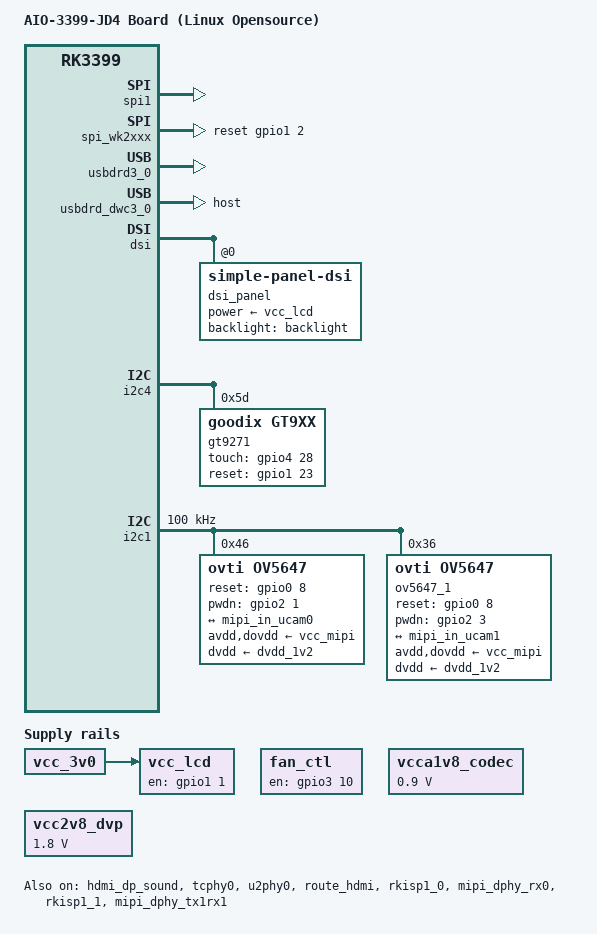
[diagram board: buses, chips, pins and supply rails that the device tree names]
/dts-v1/;

#include "rk3399-firefly-port.dtsi"
#include <dt-bindings/sensor-dev.h>

/* copy */
#include <dt-bindings/display/media-bus-format.h>

/ {
	model = "AIO-3399-JD4 Board (Linux Opensource)";
	compatible = "rockchip,rk3399-firefly", "rockchip,rk3399";

	test-power {
		status = "okay";
	};
	
	rt5640-sound {
		simple-audio-card,cpu {
		        sound-dai = <&i2s1>;
		};
		simple-audio-card,codec {
		        sound-dai = <&rt5640>;
		};
	};

	fan_ctl: fan-ctl-regulator {
		compatible = "regulator-fixed";
        	enable-active-high;
        	regulator-always-on;
		regulator-boot-on;
		gpio = <&gpio3 10 GPIO_ACTIVE_HIGH>;
		pinctrl-names = "default";
		regulator-name = "fan_ctl";
        	pinctrl-0 = <&fan_drv>;
	};


		 /* copy from aio 0330 */
    backlight: backlight {
        status = "okay";
        pwms = <&pwm1 0 25000 0>;
        default-brightness-level = <50>;
    };

    /*  POWER CONTROL START */
    vcc_lcd: vcc-lcd {
        compatible = "regulator-fixed";
        enable-active-high;
        regulator-boot-on;
        gpio = <&gpio1 1 GPIO_ACTIVE_HIGH>;
        pinctrl-names = "default";
        pinctrl-0 = <&lcd_en>;
        regulator-name = "vcc_lcd";
        vin-supply = <&vcc_3v0>;
    };

    vcc_mipi: vcc_mipi {
        status = "okay";
        };

    dvdd_1v2: dvdd-1v2 {
        status = "okay";
        };

/* POWER CONTROL */


};

&gmac {
	tx_delay = <0x2F>;
	rx_delay = <0x1E>;
};

&vcc_sd {
	gpio = <&gpio1 22 GPIO_ACTIVE_HIGH>;
};

&hdmi_dp_sound {
	status = "okay";
};

&i2c2 {
	status = "disabled";
	i2c-scl-rising-time-ns = <300>;
	i2c-scl-falling-time-ns = <15>;

	sensor@4c {
		status = "disabled";
		compatible = "gs_mc3230";
		reg = <0x4c>;
		type = <SENSOR_TYPE_ACCEL>;
		irq_enable = <0>;
		poll_delay_ms = <30>;
		layout = <1>;
	};
};

&rt5640 {
    hp-det-adc-value = <900>;
    aux-det-adc-value = <900>;
    hp-con-gpio = <&gpio3 16 GPIO_ACTIVE_HIGH>;
    io-channels = <&saradc 3>,<&saradc 2>;
    io-channel-names = "hp-det","aux-det";
};

&rt5640_hpcon{
    rockchip,pins = <3 16 RK_FUNC_GPIO &pcfg_pull_none>;
};

&vcca1v8_codec {
	regulator-min-microvolt = <900000>;
	regulator-max-microvolt = <900000>;
};
&uart4 {
    status = "disabled";
};

&spi1 {
	dev-port = <0>;
    	status = "okay";
};

&spi_wk2xxx {
    status = "okay";
	reset-gpio = <&gpio1 2 GPIO_ACTIVE_HIGH>;
	irq-gpio = <&gpio2 8 IRQ_TYPE_EDGE_FALLING>;
	cs-gpio = <&gpio1 10 GPIO_ACTIVE_HIGH>;
};

&vcc3v3_3g {
	gpio = <&gpio2 28 GPIO_ACTIVE_HIGH>;
};

&vcc3v3_pcie {
	/delete-property/ gpio;
};

&uart4 {
    status = "disabled";
};

&dp_in_vopb {
	status = "disabled";
};

&hdmi_in_vopl {
	status = "disabled";
};

&wdt {
	status = "disabled";
};

&io_domains {
	bt656-supply = <&vcc_3v0>;
};

&vcc2v8_dvp {
	regulator-min-microvolt = <1800000>;
	regulator-max-microvolt = <1800000>;
};

&vcca1v8_codec {
	regulator-min-microvolt = <900000>;
	regulator-max-microvolt = <900000>;
};

&pinctrl {
	pinctrl-names = "default";
	pinctrl-0 = <&host_hub_vcc>;

	host-hub-vcc {
		host_hub_vcc: host-hub-vcc {
			rockchip,pins =
				<2 4 RK_FUNC_GPIO &pcfg_output_high>,
				<4 29 RK_FUNC_GPIO &pcfg_output_high>;
		};
	};

	pcie {
		pcie_3g_drv: pcie-3g-drv {
			rockchip,pins =
				<2 6 RK_FUNC_GPIO &pcfg_pull_up>;
		};
	};

	vcc_sd {
		vcc_sd_h: vcc-sd-h {
			rockchip,pins =
				<1 22 RK_FUNC_GPIO &pcfg_pull_up>;
		};
	};

	fan-ctl {
        	fan_drv: fan-drv {
             		rockchip,pins = <3 10 RK_FUNC_GPIO &pcfg_pull_none>;
        };
    };



	/* copy from aio 0330 */
    lcd {
        lcd_en: lcd-en  {
            rockchip,pins = <1 1 RK_FUNC_GPIO &pcfg_pull_none>;
        };
    };



};

&fusb0 {
    status = "disabled";
};

&cdn_dp {
    status = "disabled";
};

&tcphy0 {
    /delete-property/ extcon;
    status = "okay";
};

&u2phy0 {
    status = "okay";
    /delete-property/ extcon;

    u2phy0_otg: otg-port {
        rockchip,vbus-always-on;
        vbus-5v-gpios = <&gpio1 3 GPIO_ACTIVE_HIGH>;
        status = "okay";
    };
};

&usbdrd3_0 {
    status = "okay";
    /delete-property/ extcon;
};

&usbdrd_dwc3_0 {
    dr_mode = "host";
};

&route_hdmi {
	status = "okay";
};

&rk808 {
     /delete-property/ pmic,stby-gpio;
     /delete-property/ pmic,hold-gpio;
};

/* dup
&vcc_mipi {
	status = "okay";
};

&dvdd_1v2 {
	status = "okay";
};
*/

/* error
&ov13850 {
	status = "okay";
};

&ov13850_1 {
	status = "okay";
};
*/




&rkisp1_0 {
	status = "okay";
};

&mipi_dphy_rx0 {
	status = "okay";
};

&isp0_mmu {
	status = "okay";
};

&rkisp1_1 {
	status = "okay";
};

&mipi_dphy_tx1rx1 {
	status = "okay";
};

&isp1_mmu {
	status = "okay";
};



/* copy from old aio 0330 dts */




/* mipi dsi start*/
&dsi {
    status = "okay";
    dsi_panel: panel {
        compatible ="simple-panel-dsi";
        reg = <0>;
        backlight = <&backlight>;
        power-supply = <&vcc_lcd>;
        dsi,flags = <(MIPI_DSI_MODE_VIDEO | MIPI_DSI_MODE_VIDEO_BURST)>;
        dsi,format = <MIPI_DSI_FMT_RGB888>;
        bus-format = <MEDIA_BUS_FMT_RGB666_1X18>;
        dsi,lanes = <4>;
        reset-delay-ms = <20>;
        init-delay-ms = <20>;
        enable-delay-ms = <120>;
        prepare-delay-ms = <120>;
        status = "okay";

        panel-init-sequence = [
            05 20 01 29
            05 96 01 11
        ];

        panel-exit-sequence = [
            05 05 01 28
            05 78 01 10
        ];

        disp_timings: display-timings {
            native-mode = <&timing0>;

            timing0: timing0 {
                clock-frequency = <74000000>;
                hactive = <1280>;
                vactive = <800>;
                hsync-len = <20>;
                hback-porch = <42>;
                hfront-porch = <138>;
                vsync-len = <2>;
                vback-porch = <4>;
                vfront-porch = <2>;
                hsync-active = <1>;
                vsync-active = <1>;
                de-active = <1>;
                pixelclk-active = <0>;
            };
        };
    };
};
/* mipi dsi end*/

/* touch start */
&i2c4 {
    status = "okay";

    gt9271: gt9271@5d {
        status = "okay";
        compatible = "goodix,gt9xx";
        reg = <0x5d>;
        max-x = <1280>;
        max-y = <800>;
        tp-size = <9271>;
        touch-gpio = <&gpio4 28 IRQ_TYPE_LEVEL_LOW>;
        reset-gpio = <&gpio1 23 GPIO_ACTIVE_HIGH>;
    };
};

/* touch end */

/* mipi csi start*/
&i2c1 {
    status = "okay";
    i2c-scl-rising-time-ns = <300>;
    i2c-scl-falling-time-ns = <15>;
    clock-frequency = <100000>;


    ov5647: ov5647@46 {
        compatible = "ovti,ov5647";
        status = "okay";
        reg = <0x46>;
        clocks = <&cru SCLK_CIF_OUT>;
        clock-names = "xvclk";

	// conflict with csi-ctl-gpios 
	reset-gpios = <&gpio0 8 GPIO_ACTIVE_HIGH>;
	pwdn-gpios = <&gpio2 1 GPIO_ACTIVE_HIGH>;
	pinctrl-names = "rockchip,camera_default","rockchip,camera_sleep";
	pinctrl-0 = <&cam0_default_pins>;
	pinctrl-1 = <&cam0_sleep_pins>;

        avdd-supply = <&vcc_mipi>;  // VCC28_MIPI 
        dovdd-supply = <&vcc_mipi>; // VCC18_MIPI 
        dvdd-supply = <&dvdd_1v2>;  // DVDD_1V2 

        port {
           ucam_out0: endpoint {
               remote-endpoint = <&mipi_in_ucam0>;
               data-lanes = <1 2>;
           };
       };
    };


   ov5647_1: ov5647@36 {
	compatible = "ovti,ov5647";
	status = "okay";
	reg = <0x36>;
	clocks = <&cru SCLK_CIF_OUT>;
	clock-names = "xvclk";

	// conflict with csi-ctl-gpios 
	reset-gpios = <&gpio0 8 GPIO_ACTIVE_HIGH>;
	//pwdn-gpios = <&gpio2 8 GPIO_ACTIVE_HIGH>;
	pwdn-gpios = <&gpio2 3 GPIO_ACTIVE_HIGH>;
	pinctrl-names = "rockchip,camera_default", "rockchip,camera_sleep";
	pinctrl-0 = <&cam0_default_pins>;
	pinctrl-1 = <&cam0_sleep_pins>;

	avdd-supply = <&vcc_mipi>; // VCC28_MIPI 
	dovdd-supply = <&vcc_mipi>; // VCC18_MIPI 
	dvdd-supply = <&dvdd_1v2>; // DVDD_1V2 

        port {
            ucam_out1: endpoint {
                remote-endpoint = <&mipi_in_ucam1>;
                data-lanes = <1 2>;
            };
        };
    };
};
/* mipi csi end*/
